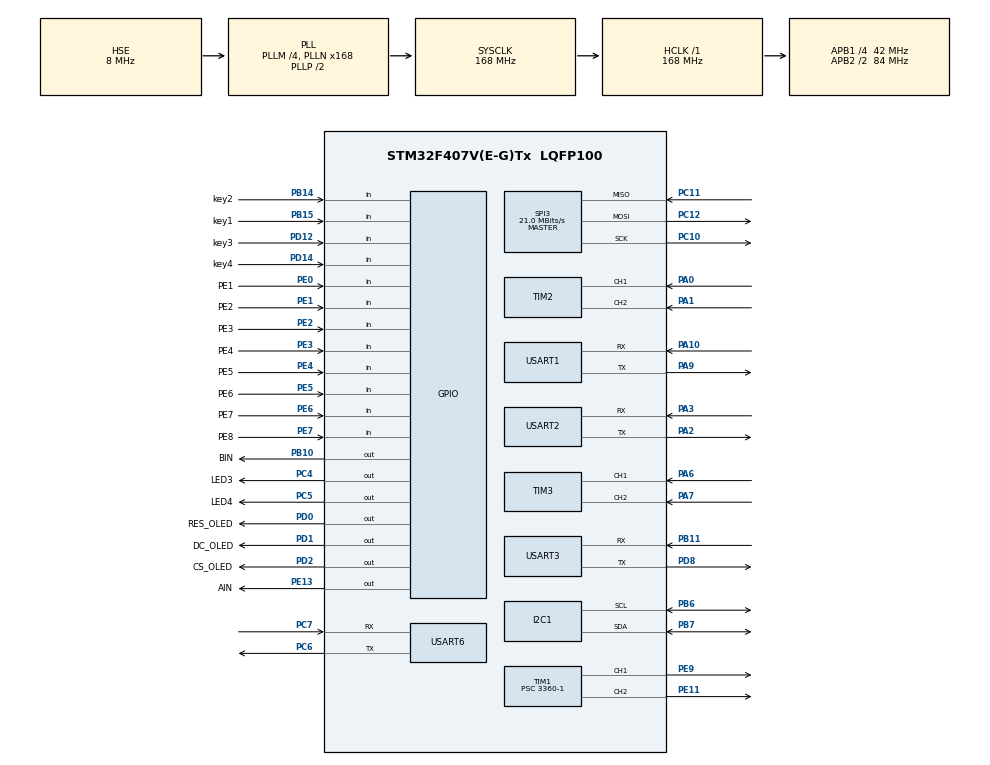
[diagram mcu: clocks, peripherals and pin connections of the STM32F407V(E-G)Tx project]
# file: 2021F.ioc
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Mcu.Family=STM32F4
Mcu.Name=STM32F407V(E-G)Tx
Mcu.Package=LQFP100
NVIC.PriorityGroup=NVIC_PRIORITYGROUP_4
NVIC.TIM4_IRQn=true\:4\:0\:true\:false\:true\:true\:true\:true
NVIC.USART2_IRQn=true\:0\:0\:false\:false\:true\:true\:true\:true
NVIC.USART3_IRQn=true\:0\:0\:true\:false\:true\:true\:true\:true
PA0-WKUP.Signal=S_TIM2_CH1_ETR
PA1.Signal=S_TIM2_CH2
PA10.Mode=Asynchronous
PA10.Signal=USART1_RX
PA13.Mode=Serial_Wire
PA13.Signal=SYS_JTMS-SWDIO
PA14.Mode=Serial_Wire
PA14.Signal=SYS_JTCK-SWCLK
PA2.Mode=Asynchronous
PA2.Signal=USART2_TX
PA3.Mode=Asynchronous
PA3.Signal=USART2_RX
PA6.Signal=S_TIM3_CH1
PA7.Signal=S_TIM3_CH2
PA9.Mode=Asynchronous
PA9.Signal=USART1_TX
PB10.GPIO_Label=BIN
PB10.Signal=GPIO_Output
PB11.Mode=Asynchronous
PB11.Signal=USART3_RX
PB14.GPIO_Label=key2
PB14.GPIO_PuPd=GPIO_PULLDOWN
PB14.Signal=GPIO_Input
PB15.GPIO_Label=key1
PB15.GPIO_PuPd=GPIO_PULLDOWN
PB15.Signal=GPIO_Input
PB6.Mode=I2C
PB6.Signal=I2C1_SCL
PB7.Mode=I2C
PB7.Signal=I2C1_SDA
PC10.Mode=Full_Duplex_Master
PC10.Signal=SPI3_SCK
PC11.Mode=Full_Duplex_Master
PC11.Signal=SPI3_MISO
PC12.Mode=Full_Duplex_Master
PC12.Signal=SPI3_MOSI
PC4.GPIO_Label=LED3
PC4.Signal=GPIO_Output
PC5.GPIO_Label=LED4
PC5.Signal=GPIO_Output
PC6.Mode=Asynchronous
PC6.Signal=USART6_TX
PC7.Mode=Asynchronous
PC7.Signal=USART6_RX
PD0.GPIO_Label=RES_OLED
PD0.Signal=GPIO_Output
PD1.GPIO_Label=DC_OLED
PD1.Signal=GPIO_Output
PD12.GPIO_Label=key3
PD12.GPIO_PuPd=GPIO_PULLDOWN
PD12.Signal=GPIO_Input
PD14.GPIO_Label=key4
PD14.GPIO_PuPd=GPIO_PULLDOWN
PD14.Signal=GPIO_Input
PD2.GPIO_Label=CS_OLED
PD2.Signal=GPIO_Output
PD8.Mode=Asynchronous
PD8.Signal=USART3_TX
PE0.GPIO_Label=PE1
PE0.Signal=GPIO_Input
PE1.GPIO_Label=PE2
PE1.Signal=GPIO_Input
PE11.Signal=S_TIM1_CH2
PE13.GPIO_Label=AIN
PE13.Signal=GPIO_Output
PE2.GPIO_Label=PE3
PE2.Signal=GPIO_Input
PE3.GPIO_Label=PE4
PE3.Signal=GPIO_Input
PE4.GPIO_Label=PE5
PE4.Signal=GPIO_Input
PE5.GPIO_Label=PE6
PE5.Signal=GPIO_Input
PE6.GPIO_Label=PE7
PE6.Signal=GPIO_Input
PE7.GPIO_Label=PE8
PE7.Signal=GPIO_Input
PE9.Signal=S_TIM1_CH1
PH0-OSC_IN.Mode=HSE-External-Oscillator
PH0-OSC_IN.Signal=RCC_OSC_IN
PH1-OSC_OUT.Mode=HSE-External-Oscillator
PH1-OSC_OUT.Signal=RCC_OSC_OUT
ProjectManager.HeapSize=0x200
ProjectManager.StackSize=0x400
ProjectManager.TargetToolchain=MDK-ARM V5.32
RCC.48MHZClocksFreq_Value=84000000
RCC.AHBFreq_Value=168000000
RCC.APB1CLKDivider=RCC_HCLK_DIV4
RCC.APB1Freq_Value=42000000
RCC.APB1TimFreq_Value=84000000
RCC.APB2CLKDivider=RCC_HCLK_DIV2
RCC.APB2Freq_Value=84000000
RCC.APB2TimFreq_Value=168000000
RCC.CortexFreq_Value=168000000
RCC.HCLKFreq_Value=168000000
RCC.HSE_VALUE=8000000
RCC.HSI_VALUE=16000000
RCC.LSE_VALUE=32768
RCC.PLLM=4
RCC.PLLN=168
RCC.PLLSourceVirtual=RCC_PLLSOURCE_HSE
RCC.SYSCLKFreq_VALUE=168000000
RCC.SYSCLKSource=RCC_SYSCLKSOURCE_PLLCLK
RCC.VCOOutputFreq_Value=336000000
SH.S_TIM1_CH1.0=TIM1_CH1,PWM Generation1 CH1
SH.S_TIM1_CH2.0=TIM1_CH2,PWM Generation2 CH2
SH.S_TIM2_CH1_ETR.0=TIM2_CH1,Encoder_Interface
SH.S_TIM2_CH2.0=TIM2_CH2,Encoder_Interface
SH.S_TIM3_CH1.0=TIM3_CH1,Encoder_Interface
SH.S_TIM3_CH2.0=TIM3_CH2,Encoder_Interface
SPI3.BaudRatePrescaler=SPI_BAUDRATEPRESCALER_2
SPI3.CalculateBaudRate=21.0 MBits/s
SPI3.Direction=SPI_DIRECTION_2LINES
SPI3.Mode=SPI_MODE_MASTER
SPI3.VirtualType=VM_MASTER
TIM1.Channel-PWM\ Generation1\ CH1=TIM_CHANNEL_1
TIM1.Channel-PWM\ Generation2\ CH2=TIM_CHANNEL_2
TIM1.Period=100 - 1
TIM1.Prescaler=3360-1
TIM2.EncoderMode=TIM_ENCODERMODE_TI12
TIM3.EncoderMode=TIM_ENCODERMODE_TI12
TIM4.Period=100-1
TIM4.Prescaler=3360-1
USART1.VirtualMode=VM_ASYNC
USART2.VirtualMode=VM_ASYNC
USART3.VirtualMode=VM_ASYNC
USART6.VirtualMode=VM_ASYNC
VP_TIM1_VS_ClockSourceINT.Mode=Internal
VP_TIM4_VS_ClockSourceINT.Mode=Internal
board=custom

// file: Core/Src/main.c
/* USER CODE BEGIN Header */
/**
  ******************************************************************************
  * @file           : main.c
  * @brief          : Main program body
  ******************************************************************************
  * @attention
  *
  * Copyright (c) 2026 STMicroelectronics.
  * All rights reserved.
  *
  * This software is licensed under terms that can be found in the LICENSE file
  * in the root directory of this software component.
  * If no LICENSE file comes with this software, it is provided AS-IS.
  *
  ******************************************************************************
  */
/* USER CODE END Header */
#include "main.h"
#include "i2c.h"
#include "spi.h"
#include "tim.h"
#include "usart.h"
#include "gpio.h"

/* USER CODE BEGIN Includes */
#include <stdio.h>
#include <string.h>
#include "PID_Node.h"
#include "oled.h"
#include "mpu6050.h"
#include "MadgwickAHRS.h"
#include "multikey.h"
#include <stdbool.h>
#include "Motor_AT4950.h"
#include "grayscale.h"
#include "control.h"
#include "app_log.h"
#include "app_fsm.h"
#include "app_timer.h"
#include "app_protocol.h"
//#include "f_sm.h"
/* USER CODE END Includes */

/* USER CODE BEGIN PTD */
MulitKey_t key1;
MulitKey_t key2;
MotorAT4950 motor1;
MotorAT4950 motor2;
/* USER CODE END PTD */

/* USER CODE BEGIN PV */
//MPU6050_Data_t* mpu = NULL;   // 全局指针，用于整个文件访问
volatile uint8_t uart2_rx_byte; // USART2 协议层中断接收（摄像头）
volatile uint8_t uart3_rx_byte; // USART3 协议层中断接收（蓝牙）
static uint32_t rx_count = 0;
/* USER CODE END PV */

void SystemClock_Config(void);

/* USER CODE BEGIN 0 */
// 电机驱动底层函数实现（放在 main 函数外）
void SetMotor1PWM(uint16_t ccr) {
    __HAL_TIM_SetCompare(&htim1, TIM_CHANNEL_1, ccr);
}
void SetMotor2PWM(uint16_t ccr) {
    __HAL_TIM_SetCompare(&htim1, TIM_CHANNEL_2, ccr);
}
void SetMotor1IN1(uint8_t level) {
    HAL_GPIO_WritePin(AIN_GPIO_Port, AIN_Pin, (GPIO_PinState)level);
}
void SetMotor2IN1(uint8_t level) {
    HAL_GPIO_WritePin(BIN_GPIO_Port, BIN_Pin, (GPIO_PinState)level);
}
void __log_uart_tx(const char* buffer, size_t buffer_size)
{
    HAL_UART_Transmit(&huart3, (uint8_t*)buffer, buffer_size, HAL_MAX_DELAY);
}
/* USER CODE END 0 */

int main(void)
{

  /* MCU Configuration--------------------------------------------------------*/

  /* Reset of all peripherals, Initializes the Flash interface and the Systick. */
  HAL_Init();

  /* Configure the system clock */
  SystemClock_Config();

  /* Initialize all configured peripherals */
  MX_GPIO_Init();
  MX_I2C1_Init();
  MX_SPI3_Init();
  MX_TIM1_Init();
  MX_TIM2_Init();
  MX_TIM3_Init();
  MX_TIM4_Init();
  MX_USART1_UART_Init();
  MX_USART3_UART_Init();
  MX_USART2_UART_Init();
  MX_USART6_UART_Init();
  /* USER CODE BEGIN 2 */
  App_Timer_Init();
  App_Log_Init();
  App_FSM_Init();
  App_Protocol_Init();
  OLED_Init();
  OLED_Clear();
  OLED_ShowString(0, 16, (uint8_t*)"Keep Still!", 16, 1);
  OLED_Refresh();
  OLED_Clear();
  LOG_Init(__log_uart_tx);
  LOG_INFO("Log system initialized");
  MotorInit_AT46950(&motor1, SetMotor1PWM, SetMotor1IN1, 100); // ARR = 999
  MotorInit_AT46950(&motor2, SetMotor2PWM, SetMotor2IN1, 100);
  SetDefaultDirection(&motor1, High_Level);
  SetDefaultDirection(&motor2, High_Level);
	// 启动 PWM 输出
  HAL_TIM_PWM_Start(&htim1, TIM_CHANNEL_1);
  HAL_TIM_PWM_Start(&htim1, TIM_CHANNEL_2);

	// 启动编码器模式
  HAL_TIM_Encoder_Start(&htim2, TIM_CHANNEL_ALL);
  HAL_TIM_Encoder_Start(&htim3, TIM_CHANNEL_ALL);

	// 启动 TIM4 中断（周期已在 MX_TIM4_Init 中配置为 10ms）
  Control_Init();

//ctrl_mode = CTRL_MODE_TRACKING;    // 设置灰度循迹模式

//  FSM_App_Init();   //状态机初始化
//  SM_StartTask(TASK_4);
//  mpu = MPU6050_GetHandle();   // 获取句柄
  HAL_UART_Receive_IT(&huart2, (uint8_t*)&uart2_rx_byte, 1);  // 启动 USART2（摄像头）中断接收
  HAL_UART_Receive_IT(&huart3, (uint8_t*)&uart3_rx_byte, 1);  // 启动 USART3（蓝牙）中断接收
  HAL_TIM_Base_Start_IT(&htim4);
	Control_Stop();
  /* USER CODE END 2 */

  /* Infinite loop */
  /* USER CODE BEGIN WHILE */
  while (1)
  {
    App_FSM_Process();
     /* USER CODE END WHILE */

  }
}

void SystemClock_Config(void)
{
  RCC_OscInitTypeDef RCC_OscInitStruct = {0};
  RCC_ClkInitTypeDef RCC_ClkInitStruct = {0};

  /** Configure the main internal regulator output voltage
  */
  __HAL_RCC_PWR_CLK_ENABLE();
  __HAL_PWR_VOLTAGESCALING_CONFIG(PWR_REGULATOR_VOLTAGE_SCALE1);

  /** Initializes the RCC Oscillators according to the specified parameters
  * in the RCC_OscInitTypeDef structure.
  */
  RCC_OscInitStruct.OscillatorType = RCC_OSCILLATORTYPE_HSE;
  RCC_OscInitStruct.HSEState = RCC_HSE_ON;
  RCC_OscInitStruct.PLL.PLLState = RCC_PLL_ON;
  RCC_OscInitStruct.PLL.PLLSource = RCC_PLLSOURCE_HSE;
  RCC_OscInitStruct.PLL.PLLM = 4;
  RCC_OscInitStruct.PLL.PLLN = 168;
  RCC_OscInitStruct.PLL.PLLP = RCC_PLLP_DIV2;
  RCC_OscInitStruct.PLL.PLLQ = 4;
  if (HAL_RCC_OscConfig(&RCC_OscInitStruct) != HAL_OK)
  {
    Error_Handler();
  }

  /** Initializes the CPU, AHB and APB buses clocks
  */
  RCC_ClkInitStruct.ClockType = RCC_CLOCKTYPE_HCLK|RCC_CLOCKTYPE_SYSCLK
                              |RCC_CLOCKTYPE_PCLK1|RCC_CLOCKTYPE_PCLK2;
  RCC_ClkInitStruct.SYSCLKSource = RCC_SYSCLKSOURCE_PLLCLK;
  RCC_ClkInitStruct.AHBCLKDivider = RCC_SYSCLK_DIV1;
  RCC_ClkInitStruct.APB1CLKDivider = RCC_HCLK_DIV4;
  RCC_ClkInitStruct.APB2CLKDivider = RCC_HCLK_DIV2;

  if (HAL_RCC_ClockConfig(&RCC_ClkInitStruct, FLASH_LATENCY_5) != HAL_OK)
  {
    Error_Handler();
  }
}

/* USER CODE BEGIN 4 */
void HAL_TIM_PeriodElapsedCallback(TIM_HandleTypeDef *htim)
{
    if (htim->Instance == TIM4)
    {
		static uint8_t cnt = 0;
		cnt++;
        static uint32_t last_tick = 0;
        float dt = 4;
        // 读取 MPU6050 原始数据（已封装在 MPU6050_Update 中）
//        MPU6050_Update();   // 该函数会读原始值、校准、转换并更新欧拉角
        // 读取灰度传感器并计算误差
        gray_byte = GPIOE->IDR & 0xFF;
        gray_error = CalculateGrayError_Advanced(gray_byte);
        // 读取编码器差值（注意：编码器计数器可能为负数，需根据实际接线调整符号）
        static int32_t last_A = 0,last_B = 0;
			if (cnt % 5 == 0)
			{
				int32_t current_A = (int16_t)__HAL_TIM_GET_COUNTER(&htim2);
				int32_t current_B = (int32_t)(int16_t)__HAL_TIM_GET_COUNTER(&htim3);
					int32_t diff_A = current_A - last_A;
					int32_t diff_B = current_B - last_B;
					last_A = current_A;
					last_B = current_B;
				Control_UpdateSpeedFeedback(diff_A, diff_B, 20);
				// Control_UpdateSpeedFeedback(current_A, current_B, 20);
			}

        // 执行控制
        Control_Update(dt);
//		printf("target_A=%.2f,target_B=%.2f",target_A,target_B);
//		printf("diff_A=%ld, speed=%.3f\n", diff_A, Actual_Speed_A);
        // 定期清零编码器（防止溢出）
        if (cnt >= 20) {
            __HAL_TIM_SetCounter(&htim2, 0);
            __HAL_TIM_SetCounter(&htim3, 0);
            last_A = 0;
            last_B = 0;
            cnt = 0;
        }
    }
}

void HAL_UART_RxCpltCallback(UART_HandleTypeDef *huart)
{
    if (huart->Instance == USART2)   // 摄像头 → 独立协议实例
    {
        rx_count++;
        LOG_INFO("Received byte: %d", uart2_rx_byte);
        HAL_UART_Receive_IT(&huart2, (uint8_t*)&uart2_rx_byte, 1);
    }
    else if (huart->Instance == USART3)   // 蓝牙 → 独立协议实例
    {
        HAL_UART_Receive_IT(&huart3, (uint8_t*)&uart3_rx_byte, 1);
    }
}
/* USER CODE END 4 */

void Error_Handler(void)
{
  __disable_irq();
  while (1)
  {
  }
}
